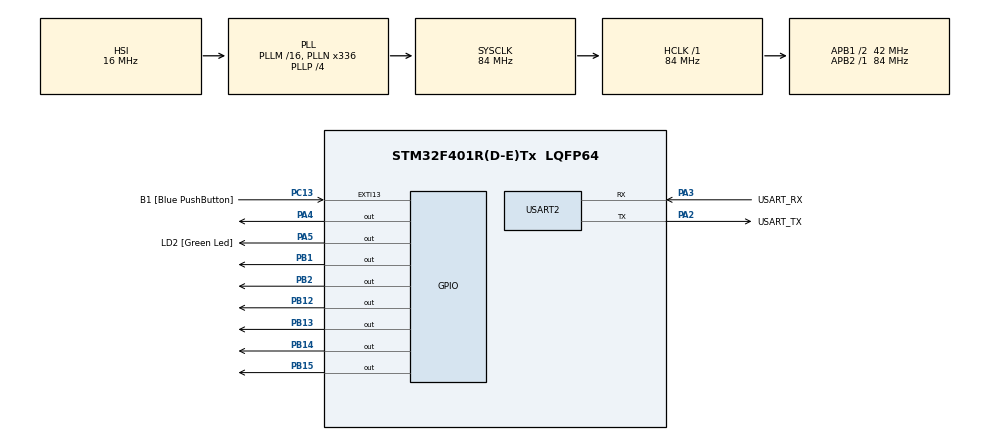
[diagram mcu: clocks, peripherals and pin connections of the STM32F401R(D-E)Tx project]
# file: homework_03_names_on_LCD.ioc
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Mcu.Family=STM32F4
Mcu.Name=STM32F401R(D-E)Tx
Mcu.Package=LQFP64
NVIC.PriorityGroup=NVIC_PRIORITYGROUP_0
PA13.GPIO_Label=TMS
PA13.Mode=Serial_Wire
PA13.Signal=SYS_JTMS-SWDIO
PA14.GPIO_Label=TCK
PA14.Mode=Serial_Wire
PA14.Signal=SYS_JTCK-SWCLK
PA2.GPIO_Label=USART_TX
PA2.GPIO_Mode=GPIO_MODE_AF_PP
PA2.GPIO_PuPd=GPIO_NOPULL
PA2.GPIO_Speed=GPIO_SPEED_FREQ_LOW
PA2.Mode=Asynchronous
PA2.Signal=USART2_TX
PA3.GPIO_Label=USART_RX
PA3.GPIO_Mode=GPIO_MODE_AF_PP
PA3.GPIO_PuPd=GPIO_NOPULL
PA3.GPIO_Speed=GPIO_SPEED_FREQ_LOW
PA3.Mode=Asynchronous
PA3.Signal=USART2_RX
PA4.Signal=GPIO_Output
PA5.GPIO_Label=LD2 [Green Led]
PA5.GPIO_Mode=GPIO_MODE_OUTPUT_PP
PA5.GPIO_PuPd=GPIO_NOPULL
PA5.GPIO_Speed=GPIO_SPEED_FREQ_LOW
PA5.Signal=GPIO_Output
PB1.Signal=GPIO_Output
PB12.Signal=GPIO_Output
PB13.Signal=GPIO_Output
PB14.Signal=GPIO_Output
PB15.Signal=GPIO_Output
PB2.Signal=GPIO_Output
PB3.GPIO_Label=SWO
PB3.Signal=SYS_JTDO-SWO
PC13-ANTI_TAMP.GPIO_Label=B1 [Blue PushButton]
PC13-ANTI_TAMP.GPIO_ModeDefaultEXTI=GPIO_MODE_IT_FALLING
PC13-ANTI_TAMP.GPIO_PuPd=GPIO_NOPULL
PC13-ANTI_TAMP.Signal=GPXTI13
PC14-OSC32_IN.Mode=LSE-External-Oscillator
PC14-OSC32_IN.Signal=RCC_OSC32_IN
PC15-OSC32_OUT.Mode=LSE-External-Oscillator
PC15-OSC32_OUT.Signal=RCC_OSC32_OUT
PH0\ -\ OSC_IN.Mode=HSE-External-Clock-Source
PH0\ -\ OSC_IN.Signal=RCC_OSC_IN
PH1\ -\ OSC_OUT.Mode=HSE-External-Clock-Source
PH1\ -\ OSC_OUT.Signal=RCC_OSC_OUT
ProjectManager.HeapSize=0x200
ProjectManager.StackSize=0x400
ProjectManager.TargetToolchain=STM32CubeIDE
RCC.48MHZClocksFreq_Value=48000000
RCC.AHBFreq_Value=84000000
RCC.APB1CLKDivider=RCC_HCLK_DIV2
RCC.APB1Freq_Value=42000000
RCC.APB1TimFreq_Value=84000000
RCC.APB2Freq_Value=84000000
RCC.APB2TimFreq_Value=84000000
RCC.CortexFreq_Value=84000000
RCC.HCLKFreq_Value=84000000
RCC.HSE_VALUE=8000000
RCC.HSI_VALUE=16000000
RCC.PLLN=336
RCC.PLLP=RCC_PLLP_DIV4
RCC.PLLQ=7
RCC.SYSCLKFreq_VALUE=84000000
RCC.SYSCLKSource=RCC_SYSCLKSOURCE_PLLCLK
RCC.VCOOutputFreq_Value=336000000
USART2.VirtualMode=VM_ASYNC
board=NUCLEO-F401RE

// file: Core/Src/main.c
/* USER CODE BEGIN Header */
/**
  ******************************************************************************
  * @file           : main.c
  * @brief          : Main program body
  ******************************************************************************
  * @attention
  *
  * Copyright (c) 2023 STMicroelectronics.
  * All rights reserved.
  *
  * This software is licensed under terms that can be found in the LICENSE file
  * in the root directory of this software component.
  * If no LICENSE file comes with this software, it is provided AS-IS.
  *
  ******************************************************************************
  */
/* USER CODE END Header */
#include "main.h"

/* USER CODE BEGIN Includes */
#include "PMDB16_lCD.h"
#include "stdlib.h"
#include "stdio.h"
/* USER CODE END Includes */

/* USER CODE BEGIN PD */
#define WILLIAM		"WilliamStucchi"
#define GIADA		"GiadaSilvestrini"
#define FRANCESCOS	"FrancescoScorccarello"
#define FRANCESCOT	"FrancescoTranqillo"
#define PAOLO		"PaoloGalfano"

#define MAXWORDSIZE 17
/* USER CODE END PD */

UART_HandleTypeDef huart2;

void SystemClock_Config(void);
static void MX_GPIO_Init(void);
static void MX_USART2_UART_Init(void);

int main(void)
{

  /* MCU Configuration--------------------------------------------------------*/

  /* Reset of all peripherals, Initializes the Flash interface and the Systick. */
  HAL_Init();

  /* Configure the system clock */
  SystemClock_Config();

  /* Initialize all configured peripherals */
  MX_GPIO_Init();
  MX_USART2_UART_Init();
  /* USER CODE BEGIN 2 */

  // initialize LCD
  lcd_initialize();
  lcd_backlight_ON();

  int i = 0;

  // initialize names
  char* names[] = {
		  WILLIAM,
		  GIADA,
		  FRANCESCOS,
		  FRANCESCOT,
		  PAOLO
  };
  int array_dim = sizeof(names) / sizeof(char*);

  HAL_Delay(2000);

  lcd_println(names[i], 1);
  /* USER CODE END 2 */

  /* Infinite loop */
  /* USER CODE BEGIN WHILE */
  while (1)
  {
	  HAL_Delay(1000);
	  lcd_println(names[i % array_dim], 0);
	  lcd_println(names[(i+1) % array_dim], 1);
	  i = (i + 1) % array_dim;

    /* USER CODE END WHILE */

  }
}

void SystemClock_Config(void)
{
  RCC_OscInitTypeDef RCC_OscInitStruct = {0};
  RCC_ClkInitTypeDef RCC_ClkInitStruct = {0};

  /** Configure the main internal regulator output voltage
  */
  __HAL_RCC_PWR_CLK_ENABLE();
  __HAL_PWR_VOLTAGESCALING_CONFIG(PWR_REGULATOR_VOLTAGE_SCALE2);

  /** Initializes the RCC Oscillators according to the specified parameters
  * in the RCC_OscInitTypeDef structure.
  */
  RCC_OscInitStruct.OscillatorType = RCC_OSCILLATORTYPE_HSI;
  RCC_OscInitStruct.HSIState = RCC_HSI_ON;
  RCC_OscInitStruct.HSICalibrationValue = RCC_HSICALIBRATION_DEFAULT;
  RCC_OscInitStruct.PLL.PLLState = RCC_PLL_ON;
  RCC_OscInitStruct.PLL.PLLSource = RCC_PLLSOURCE_HSI;
  RCC_OscInitStruct.PLL.PLLM = 16;
  RCC_OscInitStruct.PLL.PLLN = 336;
  RCC_OscInitStruct.PLL.PLLP = RCC_PLLP_DIV4;
  RCC_OscInitStruct.PLL.PLLQ = 7;
  if (HAL_RCC_OscConfig(&RCC_OscInitStruct) != HAL_OK)
  {
    Error_Handler();
  }

  /** Initializes the CPU, AHB and APB buses clocks
  */
  RCC_ClkInitStruct.ClockType = RCC_CLOCKTYPE_HCLK|RCC_CLOCKTYPE_SYSCLK
                              |RCC_CLOCKTYPE_PCLK1|RCC_CLOCKTYPE_PCLK2;
  RCC_ClkInitStruct.SYSCLKSource = RCC_SYSCLKSOURCE_PLLCLK;
  RCC_ClkInitStruct.AHBCLKDivider = RCC_SYSCLK_DIV1;
  RCC_ClkInitStruct.APB1CLKDivider = RCC_HCLK_DIV2;
  RCC_ClkInitStruct.APB2CLKDivider = RCC_HCLK_DIV1;

  if (HAL_RCC_ClockConfig(&RCC_ClkInitStruct, FLASH_LATENCY_2) != HAL_OK)
  {
    Error_Handler();
  }
}

static void MX_USART2_UART_Init(void)
{

  huart2.Instance = USART2;
  huart2.Init.BaudRate = 115200;
  huart2.Init.WordLength = UART_WORDLENGTH_8B;
  huart2.Init.StopBits = UART_STOPBITS_1;
  huart2.Init.Parity = UART_PARITY_NONE;
  huart2.Init.Mode = UART_MODE_TX_RX;
  huart2.Init.HwFlowCtl = UART_HWCONTROL_NONE;
  huart2.Init.OverSampling = UART_OVERSAMPLING_16;
  if (HAL_UART_Init(&huart2) != HAL_OK)
  {
    Error_Handler();
  }

}

static void MX_GPIO_Init(void)
{
  GPIO_InitTypeDef GPIO_InitStruct = {0};

  /* GPIO Ports Clock Enable */
  __HAL_RCC_GPIOC_CLK_ENABLE();
  __HAL_RCC_GPIOH_CLK_ENABLE();
  __HAL_RCC_GPIOA_CLK_ENABLE();
  __HAL_RCC_GPIOB_CLK_ENABLE();

  /*Configure GPIO pin Output Level */
  HAL_GPIO_WritePin(GPIOA, GPIO_PIN_4|LD2_Pin, GPIO_PIN_RESET);

  /*Configure GPIO pin Output Level */
  HAL_GPIO_WritePin(GPIOB, GPIO_PIN_1|GPIO_PIN_2|GPIO_PIN_12|GPIO_PIN_13
                          |GPIO_PIN_14|GPIO_PIN_15, GPIO_PIN_RESET);

  /*Configure GPIO pin : B1_Pin */
  GPIO_InitStruct.Pin = B1_Pin;
  GPIO_InitStruct.Mode = GPIO_MODE_IT_FALLING;
  GPIO_InitStruct.Pull = GPIO_NOPULL;
  HAL_GPIO_Init(B1_GPIO_Port, &GPIO_InitStruct);

  /*Configure GPIO pins : PA4 LD2_Pin */
  GPIO_InitStruct.Pin = GPIO_PIN_4|LD2_Pin;
  GPIO_InitStruct.Mode = GPIO_MODE_OUTPUT_PP;
  GPIO_InitStruct.Pull = GPIO_NOPULL;
  GPIO_InitStruct.Speed = GPIO_SPEED_FREQ_LOW;
  HAL_GPIO_Init(GPIOA, &GPIO_InitStruct);

  /*Configure GPIO pins : PB1 PB2 PB12 PB13
                           PB14 PB15 */
  GPIO_InitStruct.Pin = GPIO_PIN_1|GPIO_PIN_2|GPIO_PIN_12|GPIO_PIN_13
                          |GPIO_PIN_14|GPIO_PIN_15;
  GPIO_InitStruct.Mode = GPIO_MODE_OUTPUT_PP;
  GPIO_InitStruct.Pull = GPIO_NOPULL;
  GPIO_InitStruct.Speed = GPIO_SPEED_FREQ_LOW;
  HAL_GPIO_Init(GPIOB, &GPIO_InitStruct);

}

void Error_Handler(void)
{
  __disable_irq();
  while (1)
  {
  }
}
